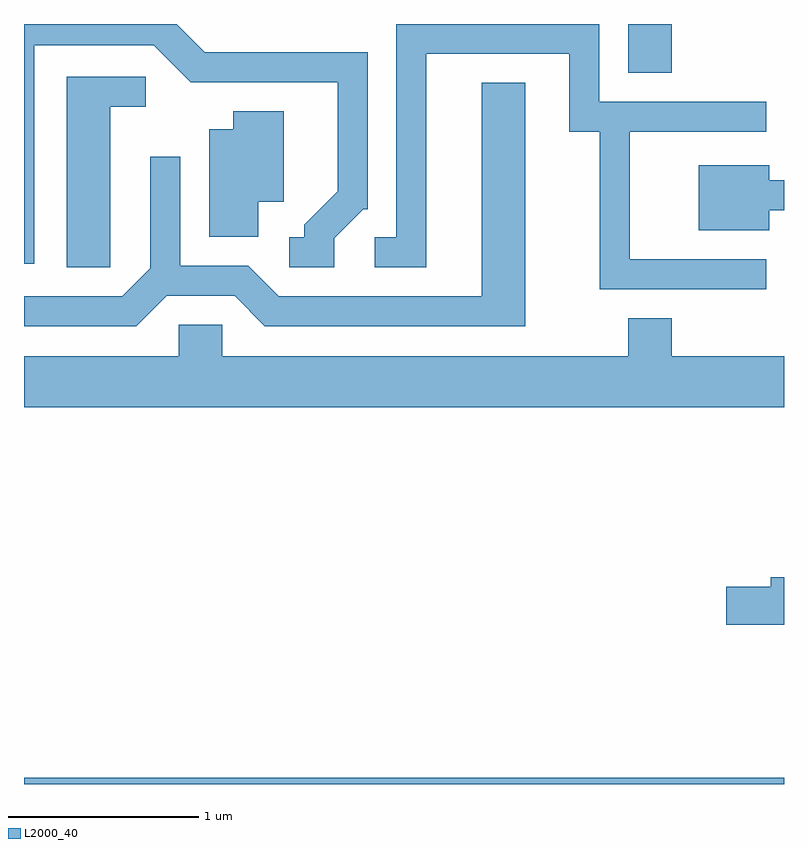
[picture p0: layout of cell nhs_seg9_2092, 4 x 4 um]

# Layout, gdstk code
import gdstk
lib = gdstk.Library(unit=1e-6, precision=1e-09)
def R(c, l, rs):  # rectangles x0, y0, x1, y1
    for r in rs: c.add(gdstk.rectangle(r[:2], r[2:], *l))
def P(c, l, *ps):  # polygons
    for p in ps: c.add(gdstk.Polygon(p, *l))
L2000_40 = (2000, 40)

nhs_seg9_2092 = lib.new_cell('nhs_seg9_2092')
R(nhs_seg9_2092, L2000_40, [(245.611,2056.432,249.611,2056.464), (248.791,2060.176,249.019,2060.432)])
P(nhs_seg9_2092, L2000_40, [(247.244,2059.304),(247.397,2059.456),(247.419,2059.456),(247.419,2060.284),(246.562,2060.284),(246.414,2060.432),(245.611,2060.432),(245.611,2059.171),(245.664,2059.171),(245.664,2060.321),(246.294,2060.321),(246.489,2060.126),(247.261,2060.126),(247.261,2059.552),(247.086,2059.376),(247.086,2059.309),(247.008,2059.309),(247.008,2059.151),(247.244,2059.151)],
  [(249.518,2059.194),(248.799,2059.194),(248.799,2059.866),(249.518,2059.866),(249.518,2060.024),(248.639,2060.024),(248.639,2060.432),(247.571,2060.432),(247.571,2059.309),(247.458,2059.309),(247.458,2059.151),(247.729,2059.151),(247.729,2060.276),(248.481,2060.276),(248.481,2059.866),(248.641,2059.866),(248.641,2059.036),(249.518,2059.036)],
  [(246.064,2059.996),(246.253,2059.996),(246.253,2060.154),(245.836,2060.154),(245.836,2059.151),(246.064,2059.151)],
  [(246.362,2059.001),(246.719,2059.001),(246.879,2058.841),(248.249,2058.841),(248.249,2060.124),(248.021,2060.124),(248.021,2058.999),(246.952,2058.999),(246.792,2059.159),(246.434,2059.159),(246.434,2059.733),(246.276,2059.733),(246.276,2059.146),(246.129,2058.999),(245.611,2058.999),(245.611,2058.841),(246.202,2058.841)],
  [(246.844,2059.496),(246.979,2059.496),(246.979,2059.974),(246.711,2059.974),(246.711,2059.879),(246.586,2059.879),(246.586,2059.311),(246.844,2059.311)],
  [(249.534,2059.451),(249.611,2059.451),(249.611,2059.609),(249.534,2059.609),(249.534,2059.689),(249.161,2059.689),(249.161,2059.346),(249.534,2059.346)],
  [(249.611,2058.684),(249.019,2058.684),(249.019,2058.884),(248.791,2058.884),(248.791,2058.684),(246.654,2058.684),(246.654,2058.849),(246.426,2058.849),(246.426,2058.684),(245.611,2058.684),(245.611,2058.416),(249.611,2058.416)],
  [(249.611,2057.519),(249.541,2057.519),(249.541,2057.469),(249.306,2057.469),(249.306,2057.271),(249.611,2057.271)])

lib.write_gds('nhs_seg9_2092.gds')
